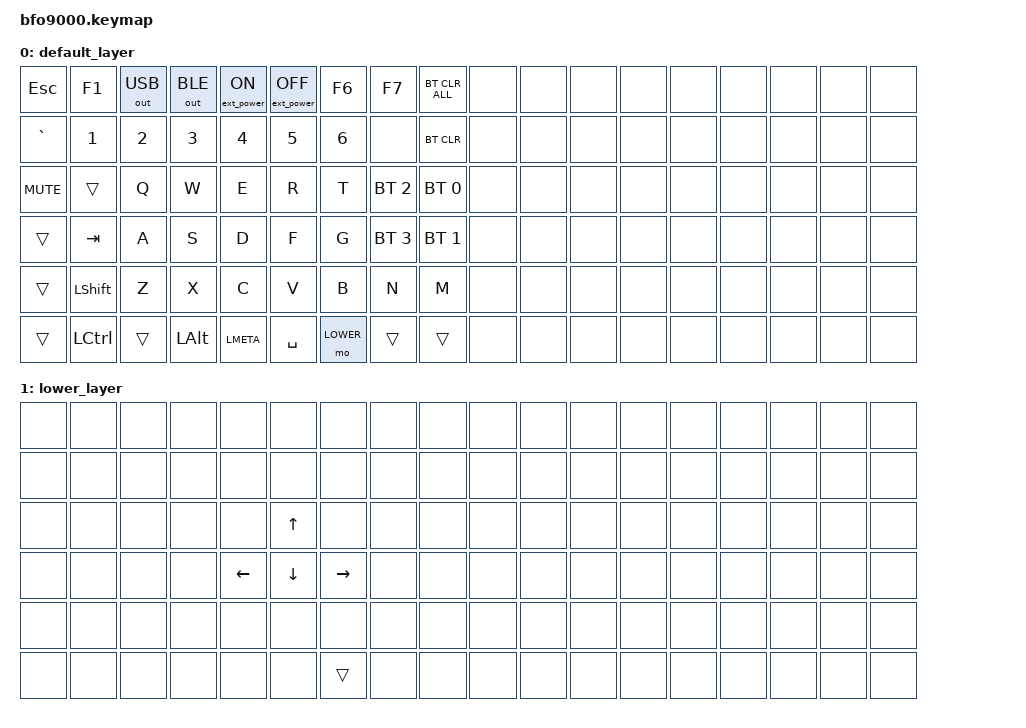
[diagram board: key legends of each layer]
/*
 * Copyright (c) 2020 The ZMK Contributors
 *
 * SPDX-License-Identifier: MIT
 */

#include <behaviors.dtsi>
#include <dt-bindings/zmk/keys.h>
#include <dt-bindings/zmk/bt.h>
#include <dt-bindings/zmk/outputs.h>
#include <dt-bindings/zmk/ext_power.h>
#include <dt-bindings/zmk/rgb.h>

#define DEFAULT 0
#define LOWER   1

/ {
    keymap {
        compatible = "zmk,keymap";

        default_layer {
            // | Esc        | Vol Up            | Esc               | F1                | F2                    F3                      | F4            | F5             F6             | F5             | F6            | F7            | F8            | F9            | F10           | F11               | F12             | Del    |
            // | Home       | Vol Dn            | `                 | 1                 | 2                     3                       | 4             | 5              6              | 5              | 6             | 7             | 8             | 9             | 0             | -                 | =               | Bk Spc |
            // | End        | Tab               | Tab               | Q                 | W                     E                       | R             | T              Y              | T              | Y             | U             | I             | O             | P             | [                 | ]               | \      |
            // | Pg Up      | Caps              | Ctrl              | A                 | S                     D                       | F             | G              H              | G              | H             | J             | K             | L             | ;             | '                 | Enter           | Enter  |
            // | Pg Dn      | Up                | Shift             | Z                 | X                     C                       | V             | B              N              | B              | N             | M             | ,             | .             | /             | Shift             | Up              |        |
            // | Left       | Dn                | Right             | Ctrl              | Alt                   Win                     | Spc           | Spc            Enter          | Bk Spc         | Spc           | Spc           | Win           | Alt           | Ctrl          | Left              | Dn              | Right  |
            bindings = <                                                                                                                             
            &kp ESC          &kp F1              &out OUT_USB       &out OUT_BLE         &ext_power EP_ON       &ext_power EP_OFF       &kp F6          &kp F7         &bt BT_CLR_ALL  &none             &none          &none           &none            &none           &none           &none              &none              &none 
            &kp GRAVE        &kp N1              &kp N2             &kp N3               &kp N4                 &kp N5                  &kp N6          &none          &bt BT_CLR      &none             &none          &none           &none            &none           &none           &none              &none              &none 
            &kp C_MUTE       &trans              &kp Q              &kp W                &kp E                  &kp R                   &kp T           &bt BT_SEL 2   &bt BT_SEL 0    &none             &none          &none           &none            &none           &none           &none              &none              &none 
            &trans           &kp TAB             &kp A              &kp S                &kp D                  &kp F                   &kp G           &bt BT_SEL 3   &bt BT_SEL 1    &none             &none          &none           &none            &none           &none           &none              &none              &none 
            &trans           &kp LSHFT           &kp Z              &kp X                &kp C                  &kp V                   &kp B           &kp N          &kp M           &none             &none          &none           &none            &none           &none           &none              &none              &none 
            &trans           &kp LCTRL           &trans             &kp LALT             &kp LMETA              &kp SPACE               &mo LOWER       &trans         &trans          &none             &none          &none           &none            &none           &none           &none              &none              &none 
            >;               
        };

        lower_layer {
            bindings = <
            // | | | | | | | | | | | | | | | | | | |
            // | | | | | | | | | | | | | | | | | | |
            // | | | | | | | | | | | | | | | | | | |
            // | | | | | | | | | | | | | | | | | | |
            // | | | | | | | | | | | | | | | | | | |
            // | | | | | | | | | | | | | | | | | | |
            &none           &none                &none              &none                &none           &none           &none            &none         &none           &none            &none           &none           &none            &none            &none           &none            &none               &none
            &none           &none                &none              &none                &none           &none           &none            &none         &none           &none            &none           &none           &none            &none            &none           &none            &none               &none
            &none           &none                &none              &none                &none           &kp UP          &none            &none         &none           &none            &none           &none           &none            &none            &none           &none            &none               &none
            &none           &none                &none              &none                &kp LEFT        &kp DOWN        &kp RIGHT        &none         &none           &none            &none           &none           &none            &none            &none           &none            &none               &none
            &none           &none                &none              &none                &none           &none           &none            &none         &none           &none            &none           &none           &none            &none            &none           &none            &none               &none
            &none           &none                &none              &none                &none           &none           &trans           &none         &none           &none            &none           &none           &none            &none            &none           &none            &none               &none
            >;
        };
    };
};
